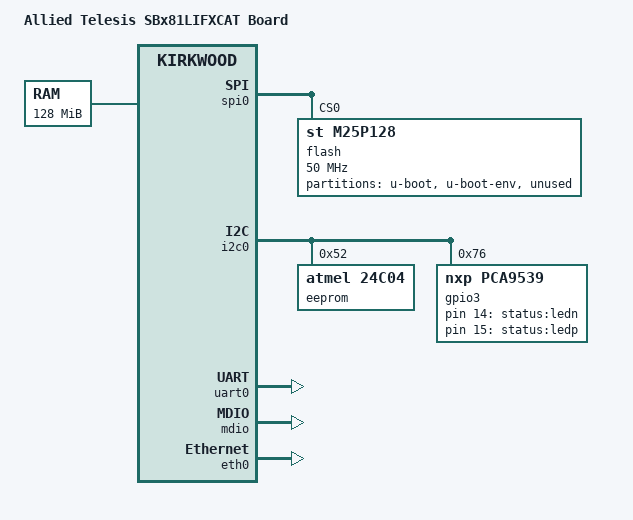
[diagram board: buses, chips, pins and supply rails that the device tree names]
// SPDX-License-Identifier: GPL-2.0
/dts-v1/;

#include "kirkwood.dtsi"
#include "kirkwood-98dx4122.dtsi"

/ {
	model = "Allied Telesis SBx81LIFXCAT Board";
	compatible = "atl,SBx8LIFXCAT", "marvell,kirkwood-98DX4122",
		     "marvell,kirkwood";

	memory {
		device_type = "memory";
		reg = <0x00000000 0x08000000>; /* 128 MB */
	};

	chosen {
		bootargs = "console=ttyS0,115200n8 earlyprintk";
		stdout-path = &uart0;
	};

	aliases {
		ethernet0 = &eth0;
		i2c0 = &i2c0;
		spi0 = &spi0;
	};

	dsa {
		compatible = "marvell,dsa";
		#address-cells = <2>;
		#size-cells = <0>;
		dsa,ethernet = <&eth0>;
		dsa,mii-bus = <&mdio>;
		status = "okay";

		switch@0 {
			#address-cells =  <1>;
			#size-cells = <0>;
			reg = <1 0>;

			port@0 {
				reg = <0>;
				label = "internal0";
			};
			port@1 {
				reg = <1>;
				label = "internal1";
			};
			port@8 {
				reg = <8>;
				label = "internal8";
				phy-mode = "rgmii-id";
				fixed-link {
					speed = <1000>;
					full-duplex;
				};
			};
			port@9 {
				reg = <9>;
				label = "internal9";
				phy-mode = "rgmii-id";
				fixed-link {
					speed = <1000>;
					full-duplex;
				};
			};
			port@10 {
				reg = <10>;
				label = "cpu";
			};
		};
	};

	gpio-leds {
		compatible = "gpio-leds";

		ledn {
			label = "status:ledn";
			gpios = <&gpio3 14 GPIO_ACTIVE_HIGH>;
		};

		ledp {
			label = "status:ledp";
			gpios = <&gpio3 15 GPIO_ACTIVE_HIGH>;
		};
	};
};

&spi0 {
	status = "okay";

	flash@0 {
		#address-cells = <1>;
		#size-cells = <1>;
		compatible = "st,m25p128", "jedec,spi-nor";
		reg = <0>;
		spi-max-frequency = <50000000>;
		mode = <0>;

		partition@u-boot {
			reg = <0x00000000 0x00c00000>;
			label = "u-boot";
		};
		partition@u-boot-env {
			reg = <0x00c00000 0x00040000>;
			label = "u-boot-env";
		};
		partition@unused {
			reg = <0x00100000 0x00f00000>;
			label = "unused";
		};
	};
};

&i2c0 {
	status = "okay";

	eeprom@52 {
		compatible = "atmel,24c04";
		reg = <0x52>;
	};

	gpio3: gpio@76 {
		#gpio-cells = <2>;
		compatible = "nxp,pca9539";
		reg = <0x76>;
	};
};

&uart0 {
	status = "okay";
};

&mdio {
	status = "okay";
};

&eth0 {
	status = "okay";

	ethernet0-port@0 {
		speed = <1000>;
		duplex = <1>;
	};
};
